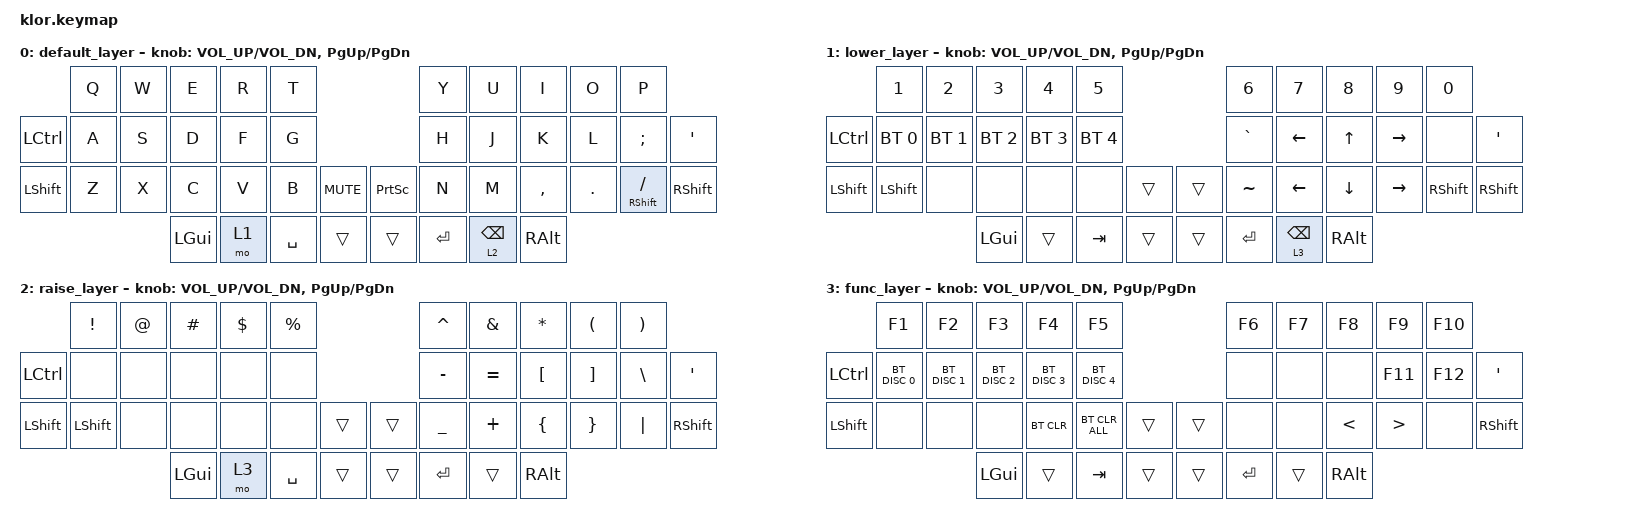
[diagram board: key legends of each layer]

//                               █         █    █            ▄▄▄▀▀▀▀▀▀▄▄▄        █▀▀▀▀▀▀▀▀▀▀█
//                               █        █     █          ▄▀            ▀▄      █          █
//                               █       █      █        ▄▀                ▀▄    █          █
//                               █      █       █        █                  █    █          █
//                               █     █        █       █                    █   █          █
//                               █    █         █       █                    █   █▄▄▄▄▄▄▄▄▄▄█
//                               █   █ █        █       █                    █   █      █
//                               █  █   █       █        █                  █    █       █
//                               █ █     █      █        ▀▄                ▄▀    █        █
//                               ██       █     █          ▀▄            ▄▀      █         █
//                               █         █    █▄▄▄▄▄▄▄▄    ▀▀▀▄▄▄▄▄▄▀▀▀        █          █
//
// ▄▄▄▄▄▄▄▄▄▄▄▄▄▄▄▄▄▄▄▄▄▄▄▄▄▄▄▄▄▄▄▄▄▄▄▄▄▄▄▄▄▄▄▄▄▄▄▄▄▄▄▄▄▄▄▄▄▄▄▄▄▄▄▄▄▄▄▄▄▄▄▄▄▄▄▄▄▄▄▄▄▄▄▄▄▄▄▄▄▄▄▄▄▄▄▄▄▄▄▄▄▄▄▄▄▄▄▄▄▄▄▄▄▄▄▄▄▄▄▄▄▄▄▄▄
       
#include <behaviors.dtsi>
#include <dt-bindings/zmk/keys.h>
#include <dt-bindings/zmk/bt.h>
#include <dt-bindings/zmk/outputs.h>
#include <dt-bindings/zmk/ext_power.h>
#include <dt-bindings/zmk/rgb.h>

/ {
     combos {
            compatible = "zmk,combos";
            combo_esc {
                timeout-ms = <50>;
                key-positions = <0 1>;
                bindings = <&kp ESC>;
            };

            combo_backspace {
                timeout-ms = <50>;
                key-positions = <8 9>;
                bindings = <&kp BACKSPACE>;
            };
    };

        keymap {
                compatible = "zmk,keymap";
                default_layer {
                    bindings = <
           &kp Q  &kp W     &kp E     &kp R  &kp T                            &kp Y    &kp U            &kp I      &kp O    &kp P           
&kp LCTRL  &kp A  &kp S     &kp D     &kp F  &kp G                            &kp H    &kp J            &kp K      &kp L    &kp SEMI        &kp SQT
&kp LSHFT  &kp Z  &kp X     &kp C     &kp V  &kp B      &kp K_MUTE &kp PSCRN  &kp N    &kp M            &kp COMMA  &kp DOT  &mt RSHFT FSLH  &kp RSHFT
                            &kp LGUI  &mo 1  &kp SPACE  &trans     &trans     &kp RET  &lt 2 BACKSPACE  &kp RALT
                    >;
                    sensor-bindings = <&inc_dec_kp K_VOL_UP K_VOL_DN &inc_dec_kp PG_UP PG_DN>;
                };

                lower_layer {
                    bindings = <
           &kp N1        &kp N2        &kp N3        &kp N4        &kp N5                            &kp N6     &kp N7           &kp N8              &kp N9     &kp N0     
&kp LCTRL  &bt BT_SEL 0  &bt BT_SEL 1  &bt BT_SEL 2  &bt BT_SEL 3  &bt BT_SEL 4                      &kp GRAVE  &kp LEFT         &kp UP              &kp RIGHT  &none      &kp SQT
&kp LSHFT  &kp LSHFT     &none         &none         &none         &none          &trans     &trans  &kp TILDE  &kp LEFT         &kp DOWN            &kp RIGHT  &kp RSHFT  &kp RSHFT
                                       &kp LGUI      &trans        &kp TAB        &trans     &trans  &kp RET    &lt 3 BACKSPACE  &kp RALT
                    >;
                    sensor-bindings = <&inc_dec_kp C_VOL_UP C_VOL_DN &inc_dec_kp PG_UP PG_DN>;
                };

                raise_layer {
                    bindings = <
           &kp EXCL   &kp AT  &kp HASH  &kp DLLR  &kp PRCNT                     &kp CARET  &kp AMPS   &kp ASTRK           &kp LPAR  &kp RPAR  
&kp LCTRL  &none      &none   &none     &none     &none                         &kp MINUS  &kp EQUAL  &kp LBKT            &kp RBKT  &kp BSLH  &kp SQT
&kp LSHFT  &kp LSHFT  &none   &none     &none     &none      &trans     &trans  &kp UNDER  &kp PLUS   &kp LBRC            &kp RBRC  &kp PIPE  &kp RSHFT
                              &kp LGUI  &mo 3     &kp SPACE  &trans     &trans  &kp RET    &trans     &kp RALT
                    >;
                    sensor-bindings = <&inc_dec_kp C_VOL_UP C_VOL_DN &inc_dec_kp PG_UP PG_DN>;
                };

                func_layer {
                    bindings = <
           &kp F1         &kp F2         &kp F3         &kp F4         &kp F5                             &kp F6   &kp F7  &kp F8              &kp F9   &kp F10  
&kp LCTRL  &bt BT_DISC 0  &bt BT_DISC 1  &bt BT_DISC 2  &bt BT_DISC 3  &bt BT_DISC 4                      &none    &none   &none               &kp F11  &kp F12  &kp SQT
&kp LSHFT  &none          &none          &none          &bt BT_CLR     &bt BT_CLR_ALL  &trans     &trans  &none    &none   &kp LT              &kp GT   &none    &kp RSHFT
                                         &kp LGUI       &trans         &kp TAB         &trans     &trans  &kp RET  &trans  &kp RALT
                    >;
                    sensor-bindings = <&inc_dec_kp C_VOL_UP C_VOL_DN &inc_dec_kp PG_UP PG_DN>;
               };
        };
};
